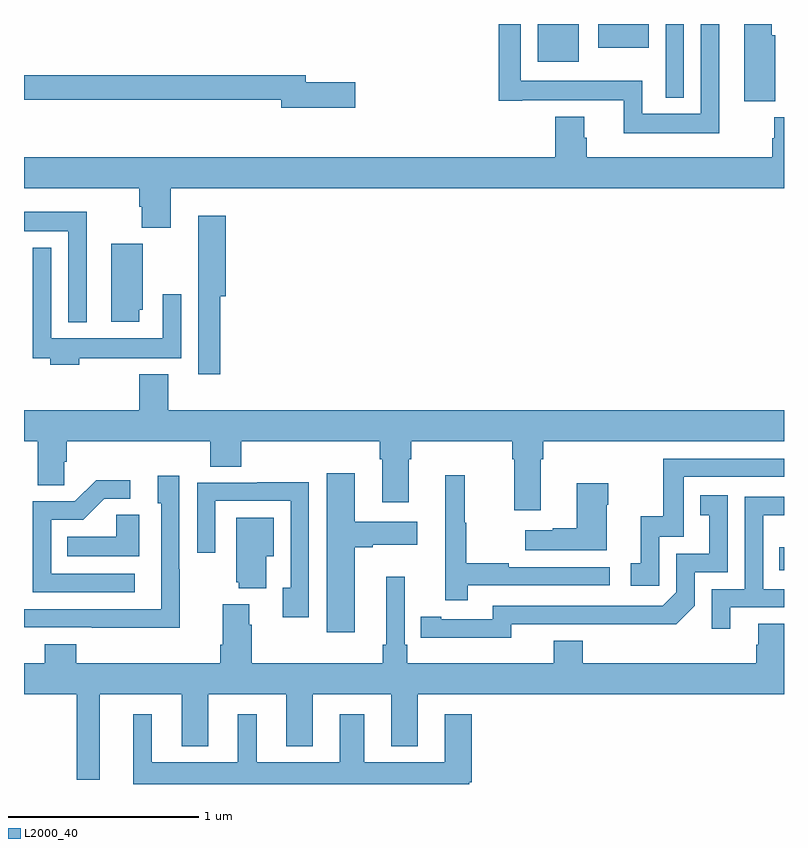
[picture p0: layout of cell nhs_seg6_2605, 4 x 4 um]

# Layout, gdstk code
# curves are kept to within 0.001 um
import gdstk
lib = gdstk.Library(unit=1e-6, precision=1e-09)
def R(c, l, rs):  # rectangles x0, y0, x1, y1
    for r in rs: c.add(gdstk.rectangle(r[:2], r[2:], *l))
def P(c, l, *ps):  # polygons
    for p in ps: c.add(gdstk.Polygon(p, *l))
L2000_40 = (2000, 40)

nhs_seg6_2605 = lib.new_cell('nhs_seg6_2605')
R(nhs_seg6_2605, L2000_40, [(268.975,978.624,269,978.747), (268.377,981.113,268.473,981.5), (267.704,981.302,267.919,981.5), (268.023,981.374,268.288,981.5)])
P(nhs_seg6_2605, L2000_40, [(268.66,981.5),(268.563,981.5),(268.563,981.028),(268.254,981.028),(268.254,981.202),(267.615,981.202),(267.615,981.5),(267.499,981.5),(267.499,981.096),(267.622,981.096),(267.622,981.098),(268.157,981.098),(268.157,980.924),(268.66,980.924)],
  [(268.954,981.441),(268.936,981.441),(268.936,981.5),(268.79,981.5),(268.79,981.094),(268.954,981.094)],
  [(266.743,981.194),(266.482,981.194),(266.482,981.23),(265,981.23),(265,981.102),(266.354,981.102),(266.354,981.059),(266.743,981.059)],
  [(265.772,980.636),(269,980.636),(269,981.009),(268.949,981.009),(268.949,980.9),(268.937,980.9),(268.937,980.8),(267.962,980.8),(267.962,980.901),(267.949,980.901),(267.949,981.013),(267.797,981.013),(267.797,980.8),(265,980.8),(265,980.636),(265.607,980.636),(265.607,980.537),(265.619,980.537),(265.619,980.428),(265.772,980.428)],
  [(265.33,980.512),(265,980.512),(265,980.408),(265.233,980.408),(265.233,979.931),(265.33,979.931)],
  [(266.033,980.066),(266.063,980.066),(266.063,980.491),(265.916,980.491),(265.916,980.17),(265.917,980.17),(265.917,979.656),(266.033,979.656)],
  [(265.606,979.995),(265.624,979.995),(265.624,980.343),(265.46,980.343),(265.46,979.932),(265.606,979.932)],
  [(265.292,979.74),(265.523,979.74),(265.523,979.742),(265.827,979.742),(265.827,980.077),(265.731,980.077),(265.731,979.846),(265.143,979.846),(265.143,980.323),(265.047,980.323),(265.047,979.74),(265.139,979.74),(265.139,979.706),(265.292,979.706)],
  [(267.721,979.208),(267.734,979.208),(267.734,979.304),(269,979.304),(269,979.468),(265.759,979.468),(265.759,979.657),(265.607,979.657),(265.607,979.468),(265,979.468),(265,979.304),(265.073,979.304),(265.073,979.072),(265.212,979.072),(265.212,979.195),(265.226,979.195),(265.226,979.304),(265.979,979.304),(265.979,979.171),(266.144,979.171),(266.144,979.304),(266.873,979.304),(266.873,979.208),(266.885,979.208),(266.885,978.984),(267.025,978.984),(267.025,979.208),(267.038,979.208),(267.038,979.304),(267.569,979.304),(267.569,979.208),(267.581,979.208),(267.581,978.942),(267.721,978.942)],
  [(268.344,978.801),(268.473,978.801),(268.473,979.116),(269,979.116),(269,979.212),(268.365,979.212),(268.365,978.91),(268.247,978.91),(268.247,978.663),(268.194,978.663),(268.194,978.543),(268.344,978.543)],
  [(266.74,978.746),(266.836,978.746),(266.836,978.758),(267.07,978.758),(267.07,978.88),(266.74,978.88),(266.74,979.135),(266.594,979.135),(266.594,978.3),(266.74,978.3)],
  [(267.335,978.546),(268.084,978.546),(268.084,978.642),(267.551,978.642),(267.551,978.662),(267.328,978.662),(267.328,978.876),(267.32,978.876),(267.32,979.126),(267.218,979.126),(267.218,978.468),(267.335,978.468)],
  [(265.821,978.629),(265.818,978.629),(265.818,979.123),(265.703,979.123),(265.703,978.978),(265.722,978.978),(265.722,978.42),(265,978.42),(265,978.324),(265.357,978.324),(265.357,978.323),(265.821,978.323)],
  [(265.582,978.606),(265.143,978.606),(265.143,978.891),(265.312,978.891),(265.423,979.002),(265.558,979.002),(265.558,979.1),(265.379,979.1),(265.266,978.987),(265.047,978.987),(265.047,978.51),(265.582,978.51)],
  [(266.499,979.088),(266.227,979.088),(266.227,979.086),(265.911,979.086),(265.911,978.717),(266.007,978.717),(266.007,978.99),(266.403,978.99),(266.403,978.534),(266.363,978.534),(266.363,978.378),(266.499,978.378)],
  [(268.066,978.971),(268.074,978.971),(268.074,979.084),(267.908,979.084),(267.908,978.845),(267.782,978.845),(267.782,978.835),(267.639,978.835),(267.639,978.731),(268.066,978.731)],
  [(267.564,978.342),(268.432,978.341),(268.53,978.438),(268.53,978.615),(268.704,978.615),(268.704,979.021),(268.558,979.021),(268.558,978.915),(268.607,978.915),(268.607,978.711),(268.434,978.711),(268.434,978.51),(268.362,978.438),(267.468,978.438),(267.468,978.366),(267.196,978.366),(267.196,978.379),(267.088,978.379),(267.088,978.27),(267.564,978.269)],
  [(268.717,978.429),(269,978.429),(269,978.525),(268.89,978.525),(268.89,978.914),(269,978.914),(269,979.011),(268.794,979.011),(268.794,978.525),(268.62,978.525),(268.62,978.318),(268.717,978.318)],
  [(265.606,978.917),(265.485,978.917),(265.485,978.802),(265.228,978.802),(265.228,978.698),(265.606,978.698)],
  [(266.275,978.698),(266.314,978.698),(266.314,978.901),(266.117,978.901),(266.117,978.561),(266.129,978.561),(266.129,978.53),(266.275,978.53)],
  [(265.399,977.972),(265.829,977.972),(265.829,977.699),(265.969,977.699),(265.969,977.972),(266.381,977.972),(266.381,977.699),(266.521,977.699),(266.521,977.972),(266.933,977.972),(266.933,977.699),(267.073,977.699),(267.073,977.972),(269,977.972),(269,978.344),(268.865,978.344),(268.865,978.234),(268.853,978.234),(268.853,978.136),(267.941,978.136),(267.941,978.253),(267.788,978.253),(267.788,978.136),(267.017,978.136),(267.017,978.232),(267.003,978.232),(267.003,978.592),(266.906,978.592),(266.906,978.232),(266.887,978.232),(266.887,978.136),(266.198,978.136),(266.198,978.338),(266.185,978.338),(266.185,978.445),(266.045,978.445),(266.045,978.232),(266.033,978.232),(266.033,978.136),(265.274,978.136),(265.274,978.235),(265.109,978.235),(265.109,978.136),(265,978.136),(265,977.972),(265.278,977.972),(265.278,977.523),(265.399,977.523)],
  [(267.343,977.51),(267.356,977.51),(267.356,977.866),(267.215,977.866),(267.215,977.614),(266.791,977.614),(266.791,977.866),(266.663,977.866),(266.663,977.614),(266.224,977.614),(266.224,977.866),(266.126,977.866),(266.126,977.614),(265.672,977.614),(265.672,977.866),(265.574,977.866),(265.574,977.5),(267.343,977.5)])

lib.write_gds('nhs_seg6_2605.gds')
